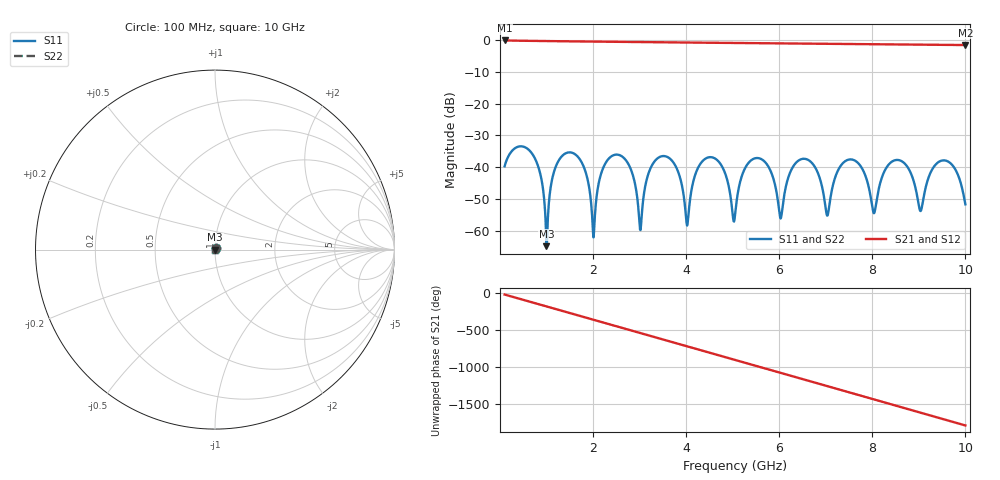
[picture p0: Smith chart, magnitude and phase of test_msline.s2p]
! AWR Design Environment (17492) Mon Jun 30 08:25:07 2025
! Document = 'test_mslines'
! nPorts: 2, nXvals: 991
# GHz S DB R 50
!Freq DBS11 AngS11 DBS21 AngS21 DBS12 AngS12 DBS22 AngS22
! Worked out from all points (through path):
!   991 points, 100 MHz to 10 GHz, reference 50 ohm
!   highest |S21| = -0.06 dB at 100 MHz (marker M1); lowest = -1.5 dB at 10 GHz (marker M2)
!   group delay of S21, straight-line fit = 498 ps
!   lowest |S11| = -64.9 dB at 1 GHz (marker M3), VSWR 1.00, Z = 50.1 - j0.0248 ohm
!   |S11| at or under -10 dB: start of sweep to end of sweep
!   |S22| runs from -64.9 to -33.4 dB; largest |S21 - S12| = 0
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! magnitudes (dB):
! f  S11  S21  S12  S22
! 100 MHz  -39.7  -0.1  -0.1  -39.7
! 690 MHz  -35.7  -0.2  -0.2  -35.7
! 1 GHz  -64.9  -0.3  -0.3  -64.9
! 1.26 GHz  -37.9  -0.3  -0.3  -37.9
! 1.75 GHz  -38.3  -0.4  -0.4  -38.3
! 2.01 GHz  -62.1  -0.4  -0.4  -62.1
! 2.5 GHz  -36.0  -0.5  -0.5  -36.0
! 3.02 GHz  -59.8  -0.6  -0.6  -59.8
! 3.4 GHz  -37.1  -0.6  -0.6  -37.1
! 4.02 GHz  -58.4  -0.7  -0.7  -58.4
! 4.64 GHz  -37.4  -0.8  -0.8  -37.4
! 5.05 GHz  -55.2  -0.9  -0.9  -55.2
! 5.42 GHz  -37.6  -0.9  -0.9  -37.6
! 6.03 GHz  -56.2  -1.0  -1.0  -56.2
! 6.7 GHz  -38.6  -1.1  -1.1  -38.6
! 7.03 GHz  -55.3  -1.1  -1.1  -55.3
! 7.41 GHz  -38.2  -1.2  -1.2  -38.2
! 8.03 GHz  -54.5  -1.2  -1.2  -54.5
! 8.35 GHz  -39.2  -1.3  -1.3  -39.2
! 9.04 GHz  -53.8  -1.4  -1.4  -53.8
! 9.62 GHz  -38.2  -1.5  -1.5  -38.2
! 10 GHz  -51.7  -1.5  -1.5  -51.7
